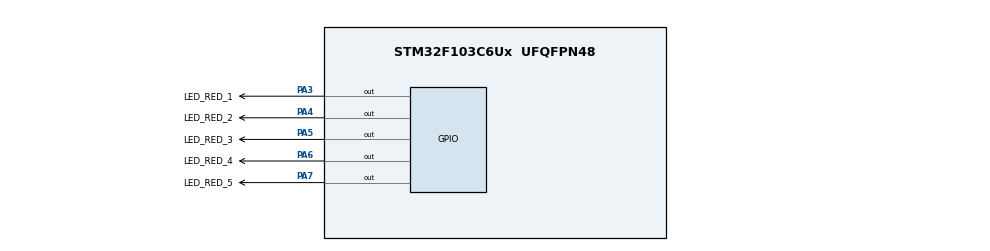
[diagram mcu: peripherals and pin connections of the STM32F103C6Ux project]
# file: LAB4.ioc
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Mcu.Family=STM32F1
Mcu.Name=STM32F103C6Ux
Mcu.Package=UFQFPN48
NVIC.PriorityGroup=NVIC_PRIORITYGROUP_4
NVIC.TIM2_IRQn=true\:0\:0\:false\:false\:true\:true\:true\:true
PA3.GPIO_Label=LED_RED_1
PA3.Signal=GPIO_Output
PA4.GPIO_Label=LED_RED_2
PA4.Signal=GPIO_Output
PA5.GPIO_Label=LED_RED_3
PA5.Signal=GPIO_Output
PA6.GPIO_Label=LED_RED_4
PA6.Signal=GPIO_Output
PA7.GPIO_Label=LED_RED_5
PA7.Signal=GPIO_Output
ProjectManager.HeapSize=0x200
ProjectManager.StackSize=0x400
ProjectManager.TargetToolchain=STM32CubeIDE
RCC.APB1Freq_Value=8000000
RCC.APB2Freq_Value=8000000
TIM2.Period=9
TIM2.Prescaler=7999
VP_TIM2_VS_ClockSourceINT.Mode=Internal
board=custom

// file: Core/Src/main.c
/* USER CODE BEGIN Header */
/**
  ******************************************************************************
  * @file           : main.c
  * @brief          : Main program body
  ******************************************************************************
  * @attention
  *
  * Copyright (c) 2022 STMicroelectronics.
  * All rights reserved.
  *
  * This software is licensed under terms that can be found in the LICENSE file
  * in the root directory of this software component.
  * If no LICENSE file comes with this software, it is provided AS-IS.
  *
  ******************************************************************************
  */
/* USER CODE END Header */
#include "main.h"

/* USER CODE BEGIN Includes */
//#include "global.h"
#include "software_timer.h"
#include "scheduler.h"
/* USER CODE END Includes */

TIM_HandleTypeDef htim2;

void SystemClock_Config(void);
static void MX_GPIO_Init(void);
static void MX_TIM2_Init(void);

/* USER CODE BEGIN 0 */
void led1test(){
	HAL_GPIO_TogglePin(LED_RED_1_GPIO_Port, LED_RED_1_Pin);
}
void led2test(){
	HAL_GPIO_TogglePin(LED_RED_2_GPIO_Port, LED_RED_2_Pin);
}
void led3test(){
	HAL_GPIO_TogglePin(LED_RED_3_GPIO_Port, LED_RED_3_Pin);
}
void led4test(){
	HAL_GPIO_TogglePin(LED_RED_4_GPIO_Port, LED_RED_4_Pin);
}
void led5test(){
	HAL_GPIO_TogglePin(LED_RED_5_GPIO_Port, LED_RED_5_Pin);
}
/* USER CODE END 0 */

int main(void)
{

  /* MCU Configuration--------------------------------------------------------*/

  /* Reset of all peripherals, Initializes the Flash interface and the Systick. */
  HAL_Init();

  /* Configure the system clock */
  SystemClock_Config();

  /* Initialize all configured peripherals */
  MX_GPIO_Init();
  MX_TIM2_Init();
  /* USER CODE BEGIN 2 */
  HAL_TIM_Base_Start_IT(&htim2);
  /* USER CODE END 2 */

  /* Infinite loop */
  /* USER CODE BEGIN WHILE */
  //0.5
  //1
  //1.5
  //2
  //2.5
  SCH_Init();

  SCH_Add_Task(led1test, 50, 50);
  SCH_Add_Task(led2test, 100, 0);
  SCH_Add_Task(led3test, 150, 150);
  SCH_Add_Task(led4test, 200, 200);
  SCH_Add_Task(led5test, 250, 0);

//  setTimer0(1000);

  while (1)
  {
//	  if( timer0_flag == 1) {
		  SCH_Dispatch_Tasks();

//		  SCH_Delete(1);
//		  SCH_Delete(2);
//		  SCH_Delete(3);
//		  SCH_Delete(4);

//		  setTimer0(1000);
//	  }

    /* USER CODE END WHILE */

  }
}

void SystemClock_Config(void)
{
  RCC_OscInitTypeDef RCC_OscInitStruct = {0};
  RCC_ClkInitTypeDef RCC_ClkInitStruct = {0};

  /** Initializes the RCC Oscillators according to the specified parameters
  * in the RCC_OscInitTypeDef structure.
  */
  RCC_OscInitStruct.OscillatorType = RCC_OSCILLATORTYPE_HSI;
  RCC_OscInitStruct.HSIState = RCC_HSI_ON;
  RCC_OscInitStruct.HSICalibrationValue = RCC_HSICALIBRATION_DEFAULT;
  RCC_OscInitStruct.PLL.PLLState = RCC_PLL_NONE;
  if (HAL_RCC_OscConfig(&RCC_OscInitStruct) != HAL_OK)
  {
    Error_Handler();
  }

  /** Initializes the CPU, AHB and APB buses clocks
  */
  RCC_ClkInitStruct.ClockType = RCC_CLOCKTYPE_HCLK|RCC_CLOCKTYPE_SYSCLK
                              |RCC_CLOCKTYPE_PCLK1|RCC_CLOCKTYPE_PCLK2;
  RCC_ClkInitStruct.SYSCLKSource = RCC_SYSCLKSOURCE_HSI;
  RCC_ClkInitStruct.AHBCLKDivider = RCC_SYSCLK_DIV1;
  RCC_ClkInitStruct.APB1CLKDivider = RCC_HCLK_DIV1;
  RCC_ClkInitStruct.APB2CLKDivider = RCC_HCLK_DIV1;

  if (HAL_RCC_ClockConfig(&RCC_ClkInitStruct, FLASH_LATENCY_0) != HAL_OK)
  {
    Error_Handler();
  }
}

static void MX_TIM2_Init(void)
{

  TIM_ClockConfigTypeDef sClockSourceConfig = {0};
  TIM_MasterConfigTypeDef sMasterConfig = {0};

  htim2.Instance = TIM2;
  htim2.Init.Prescaler = 7999;
  htim2.Init.CounterMode = TIM_COUNTERMODE_UP;
  htim2.Init.Period = 9;
  htim2.Init.ClockDivision = TIM_CLOCKDIVISION_DIV1;
  htim2.Init.AutoReloadPreload = TIM_AUTORELOAD_PRELOAD_DISABLE;
  if (HAL_TIM_Base_Init(&htim2) != HAL_OK)
  {
    Error_Handler();
  }
  sClockSourceConfig.ClockSource = TIM_CLOCKSOURCE_INTERNAL;
  if (HAL_TIM_ConfigClockSource(&htim2, &sClockSourceConfig) != HAL_OK)
  {
    Error_Handler();
  }
  sMasterConfig.MasterOutputTrigger = TIM_TRGO_RESET;
  sMasterConfig.MasterSlaveMode = TIM_MASTERSLAVEMODE_DISABLE;
  if (HAL_TIMEx_MasterConfigSynchronization(&htim2, &sMasterConfig) != HAL_OK)
  {
    Error_Handler();
  }

}

static void MX_GPIO_Init(void)
{
  GPIO_InitTypeDef GPIO_InitStruct = {0};

  /* GPIO Ports Clock Enable */
  __HAL_RCC_GPIOA_CLK_ENABLE();

  /*Configure GPIO pin Output Level */
  HAL_GPIO_WritePin(GPIOA, LED_RED_1_Pin|LED_RED_2_Pin|LED_RED_3_Pin|LED_RED_4_Pin
                          |LED_RED_5_Pin, GPIO_PIN_RESET);

  /*Configure GPIO pins : LED_RED_1_Pin LED_RED_2_Pin LED_RED_3_Pin LED_RED_4_Pin
                           LED_RED_5_Pin */
  GPIO_InitStruct.Pin = LED_RED_1_Pin|LED_RED_2_Pin|LED_RED_3_Pin|LED_RED_4_Pin
                          |LED_RED_5_Pin;
  GPIO_InitStruct.Mode = GPIO_MODE_OUTPUT_PP;
  GPIO_InitStruct.Pull = GPIO_NOPULL;
  GPIO_InitStruct.Speed = GPIO_SPEED_FREQ_LOW;
  HAL_GPIO_Init(GPIOA, &GPIO_InitStruct);

}

/* USER CODE BEGIN 4 */
//int counter = 0;
void HAL_TIM_PeriodElapsedCallback(TIM_HandleTypeDef *htim) {
	SCH_Update();
//	timer_run();
}
/* USER CODE END 4 */

void Error_Handler(void)
{
  __disable_irq();
  while (1)
  {
  }
}
